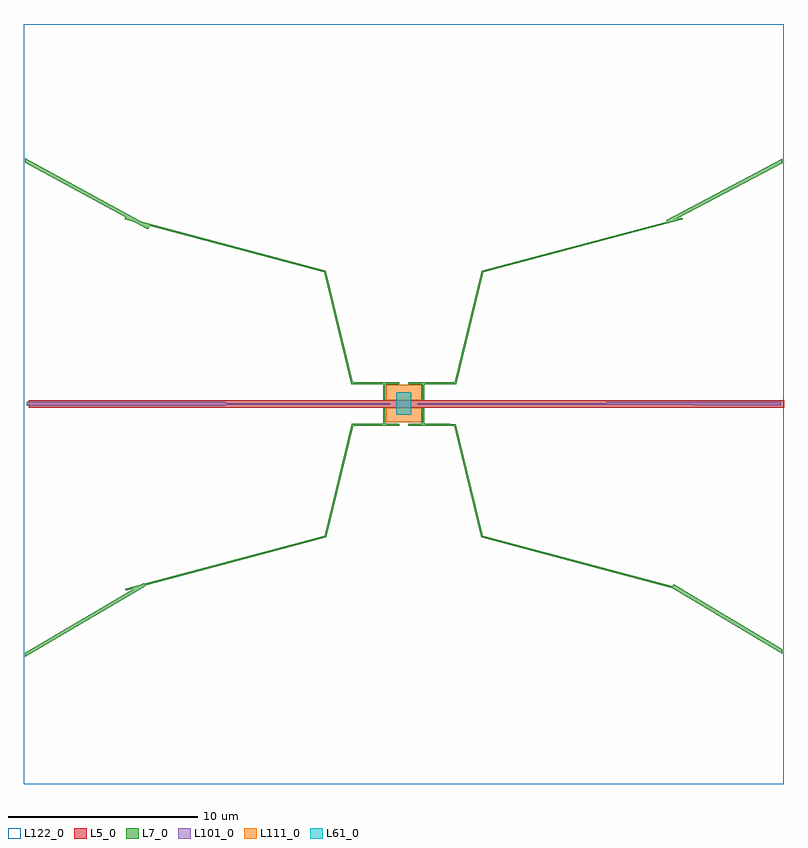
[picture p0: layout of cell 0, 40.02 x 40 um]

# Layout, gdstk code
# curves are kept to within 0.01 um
import gdstk
lib = gdstk.Library(unit=1e-6, precision=1e-09)
def R(c, l, rs):  # rectangles x0, y0, x1, y1
    for r in rs: c.add(gdstk.rectangle(r[:2], r[2:], *l))
def P(c, l, *ps):  # polygons
    for p in ps: c.add(gdstk.Polygon(p, *l))
L5_0 = (5, 0)
L7_0 = (7, 0)
L61_0 = (61, 0)
L101_0 = (101, 0)
L111_0 = (111, 0)
L122_0 = (122, 0)

c_0 = lib.new_cell('0')
R(c_0, L5_0, [(-19.743,-0.195,20.024,0.195)])
P(c_0, L7_0, [(-19.929,-13.314),(-19.929,-13.082),(-13.716,-9.424),(-13.614,-9.596)],
  [(-13.476,9.186),(-19.929,12.709),(-19.929,12.938),(-13.38,9.362)],
  [(19.93,-13.146),(14.104,-9.661),(14.206,-9.489),(19.93,-12.912)],
  [(13.908,9.506),(13.814,9.684),(19.93,12.897),(19.93,12.67)],
  [(0.267,-1.149),(0.238,-1.133),(0.225,-1.102),(0.235,-1.068),(0.266,-1.049),(0.892,-1.049),(0.948,-1.021),(0.976,-0.965),(0.976,-0.267),(0.996,-0.236),(1.032,-0.226),(1.062,-0.241),(1.076,-0.269),(1.076,-0.965),(1.104,-1.021),(1.13,-1.039),(2.439,-1.049),(2.481,-1.091),(2.467,-1.135),(2.439,-1.149)],
  [(-2.439,-1.149),(-2.481,-1.107),(-2.467,-1.063),(-2.439,-1.049),(-1.13,-1.039),(-1.104,-1.021),(-1.076,-0.965),(-1.076,-0.269),(-1.062,-0.241),(-1.032,-0.226),(-0.996,-0.236),(-0.976,-0.267),(-0.976,-0.965),(-0.948,-1.021),(-0.892,-1.049),(-0.266,-1.049),(-0.235,-1.068),(-0.225,-1.102),(-0.238,-1.133),(-0.267,-1.149)],
  [(1.032,0.227),(0.996,0.237),(0.976,0.268),(0.976,0.966),(0.948,1.022),(0.892,1.05),(0.266,1.05),(0.226,1.086),(0.229,1.12),(0.251,1.144),(2.439,1.15),(2.476,1.123),(2.476,1.077),(2.439,1.05),(1.13,1.04),(1.104,1.022),(1.076,0.966),(1.076,0.27),(1.062,0.242)],
  [(-1.031,0.227),(-1.058,0.238),(-1.076,0.272),(-1.076,1.05),(-2.481,1.05),(-2.481,1.15),(-0.27,1.15),(-0.243,1.139),(-0.227,1.085),(-0.27,1.05),(-0.976,1.05),(-0.976,0.272),(-0.994,0.238)])
P(c_0, L61_0, [(-0.306,-0.573),(-0.36,-0.551),(-0.396,-0.483),(-0.396,0.537),(-0.385,0.574),(-0.36,0.605),(-0.306,0.627),(0.314,0.627),(0.351,0.616),(0.382,0.591),(0.404,0.537),(0.404,-0.483),(0.393,-0.52),(0.368,-0.551),(0.314,-0.573)])
R(c_0, L101_0, [(-19.836,-0.094,-9.368,0.106)])
P(c_0, L101_0, [(19.836,-0.079),(10.674,-0.05),(10.674,0.15),(19.836,0.121)],
  [(-9.786,-0.051),(-9.786,0.049),(-0.749,0.049),(-0.722,0.038),(-0.704,0.004),(-0.715,-0.033),(-0.749,-0.051)],
  [(0.766,-0.051),(0.739,-0.04),(0.721,-0.006),(0.732,0.031),(0.766,0.049),(10.982,0.049),(10.982,-0.051)])
R(c_0, L111_0, [(-0.926,-0.965,0.936,-0.195)])
P(c_0, L111_0, [(-0.926,0.195),(-0.926,1.018),(0.936,1.018),(0.936,0.196),(-0.923,0.196),(-0.923,0.195)])
R(c_0, L122_0, [(-20,-20,20,20)])
c_0.add(gdstk.FlexPath([(-2.418,1.102),(-2.727,1.102),(-4.146,6.972),(-14.668,9.77)], 0.1, ends="flush", simple_path=True, layer=7, datatype=0))  # L7_0
c_0.add(gdstk.FlexPath([(2.415,1.096),(2.724,1.096),(4.143,6.966),(14.665,9.764)], 0.1, ends="flush", simple_path=True, layer=7, datatype=0))  # L7_0
c_0.add(gdstk.FlexPath([(-2.398,-1.102),(-2.702,-1.102),(-4.122,-6.973),(-14.644,-9.771)], 0.1, ends="flush", simple_path=True, layer=7, datatype=0))  # L7_0
c_0.add(gdstk.FlexPath([(2.367,-1.107),(2.696,-1.107),(4.115,-6.978),(14.637,-9.776)], 0.1, ends="flush", simple_path=True, layer=7, datatype=0))  # L7_0

lib.write_gds('0.gds')
